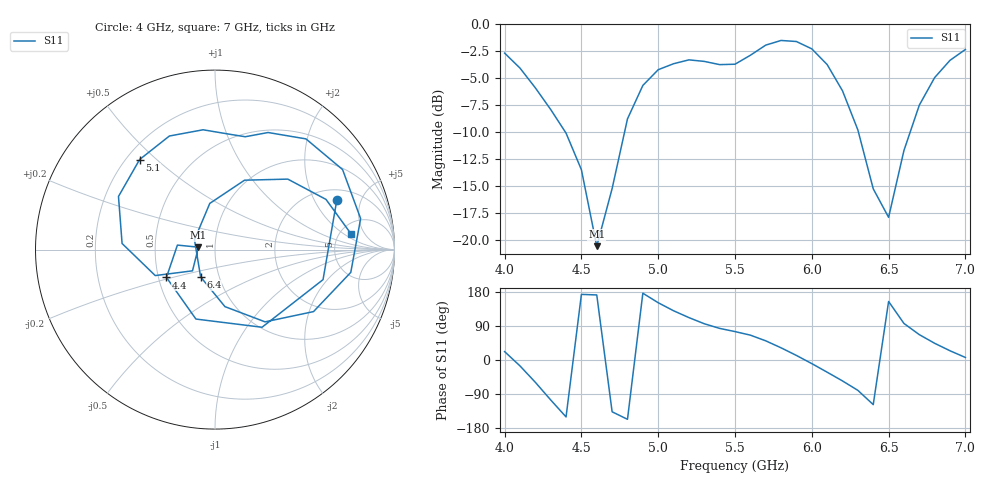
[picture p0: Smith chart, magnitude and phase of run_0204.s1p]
! Touchstone file exported from HFSS 2024.2.0
!  File:  C:/Users/wsak9/Desktop/Sim Fast/Widenad Patch/WP_AI_V1_sweep.aedt
!  Generated:  11:28:41 PM Oct 13, 2026
!  Design:  A1_model
!  Project:  WP_AI_V1_sweep
!  Setup:  Setup1
!  Solution:  Sweep
! Variables:
!  Air_gap = 2.93mm
!  Curve_Amp1 = 3.17
!  Curve_len1 = 1
!  Curve_pos = 11.75mm
!  Extra = 7.76mm
!  H_sub = 0.79mm
!  L_Patch = 19.5mm
!  L_Patch1 = 19.12mm
!  Sx = 0.78mm
!  Sy = 4.87mm
!  WS = 1.16mm
!  W_Patch = 18.28mm
!  W_Patch1 = 11.36mm
!Data is not renormalized
# GHz S MA
! Terminal data exported
! Port[1] = 1
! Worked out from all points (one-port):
!   31 points, 4 GHz to 7 GHz, reference per port
!   lowest |S11| = -20.6 dB at 4.6 GHz (marker M1), VSWR 1.21
!   |S11| at or under -10 dB: 4.394 GHz to 4.781 GHz (387.1 MHz wide, 8.44 % of centre); 6.303 GHz to 6.641 GHz (338.1 MHz wide, 5.22 % of centre)
!   S11 on the Smith chart (normalised r, x): 4 GHz: 2.57, +3.08; 4.4 GHz: 0.55, -0.19; 5.1 GHz: 0.25, +0.44; 6.4 GHz: 0.82, -0.26; 7 GHz: 6.25, +2.66
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4  0.7331 22.2
4.1  0.6248 -15.5
4.2  0.5058 -58.8
4.3  0.4013 -105.4
4.4  0.3118 -150.2
4.5  0.2109 173.2
4.6  0.09315 171.7
4.7  0.1724 -136.7
4.8  0.363 -156.5
4.9  0.5188 176.2
5  0.6138 151.2
5.1  0.6544 129.9
5.2  0.682 111.9
5.3  0.6709 95.7
5.5  0.651 75.0
5.7  0.7982 50.6
5.8  0.8391 32.1
5.9  0.8296 12.0
6  0.7671 -9.5
6.1  0.6486 -32.2
6.2  0.4898 -55.3
6.3  0.3225 -80.1
6.4  0.172 -117.7
6.5  0.1268 154.5
6.6  0.259 96.4
6.7  0.4204 66.9
6.8  0.5645 44.1
7  0.762 6.7
